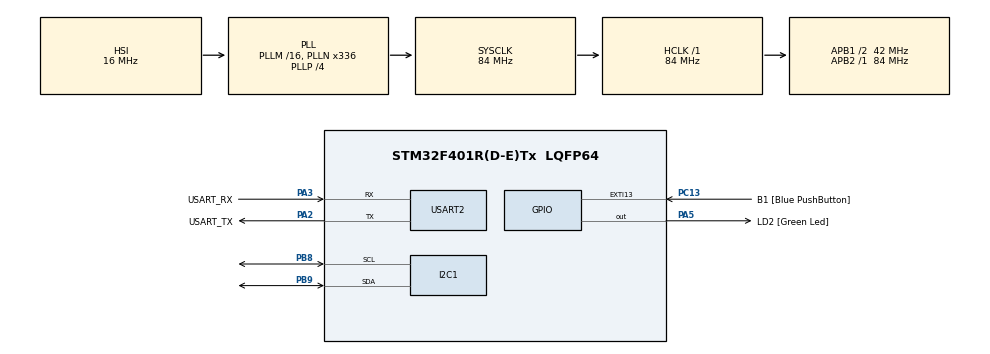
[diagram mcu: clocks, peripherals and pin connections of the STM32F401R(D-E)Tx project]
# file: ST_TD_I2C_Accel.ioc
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Mcu.Family=STM32F4
Mcu.Name=STM32F401R(D-E)Tx
Mcu.Package=LQFP64
NVIC.PriorityGroup=NVIC_PRIORITYGROUP_0
PA13.GPIO_Label=TMS
PA13.Mode=Serial_Wire
PA13.Signal=SYS_JTMS-SWDIO
PA14.GPIO_Label=TCK
PA14.Mode=Serial_Wire
PA14.Signal=SYS_JTCK-SWCLK
PA2.GPIO_Label=USART_TX
PA2.GPIO_Mode=GPIO_MODE_AF_PP
PA2.GPIO_PuPd=GPIO_NOPULL
PA2.GPIO_Speed=GPIO_SPEED_FREQ_LOW
PA2.Mode=Asynchronous
PA2.Signal=USART2_TX
PA3.GPIO_Label=USART_RX
PA3.GPIO_Mode=GPIO_MODE_AF_PP
PA3.GPIO_PuPd=GPIO_NOPULL
PA3.GPIO_Speed=GPIO_SPEED_FREQ_LOW
PA3.Mode=Asynchronous
PA3.Signal=USART2_RX
PA5.GPIO_Label=LD2 [Green Led]
PA5.GPIO_Mode=GPIO_MODE_OUTPUT_PP
PA5.GPIO_PuPd=GPIO_NOPULL
PA5.GPIO_Speed=GPIO_SPEED_FREQ_LOW
PA5.Signal=GPIO_Output
PB3.GPIO_Label=SWO
PB3.Signal=SYS_JTDO-SWO
PB8.Mode=I2C
PB8.Signal=I2C1_SCL
PB9.Mode=I2C
PB9.Signal=I2C1_SDA
PC13-ANTI_TAMP.GPIO_Label=B1 [Blue PushButton]
PC13-ANTI_TAMP.GPIO_ModeDefaultEXTI=GPIO_MODE_IT_FALLING
PC13-ANTI_TAMP.GPIO_PuPd=GPIO_NOPULL
PC13-ANTI_TAMP.Signal=GPXTI13
PC14-OSC32_IN.Mode=LSE-External-Oscillator
PC14-OSC32_IN.Signal=RCC_OSC32_IN
PC15-OSC32_OUT.Mode=LSE-External-Oscillator
PC15-OSC32_OUT.Signal=RCC_OSC32_OUT
PH0\ -\ OSC_IN.Mode=HSE-External-Clock-Source
PH0\ -\ OSC_IN.Signal=RCC_OSC_IN
PH1\ -\ OSC_OUT.Mode=HSE-External-Clock-Source
PH1\ -\ OSC_OUT.Signal=RCC_OSC_OUT
ProjectManager.HeapSize=0x200
ProjectManager.StackSize=0x400
ProjectManager.TargetToolchain=STM32CubeIDE
RCC.48MHZClocksFreq_Value=48000000
RCC.AHBFreq_Value=84000000
RCC.APB1CLKDivider=RCC_HCLK_DIV2
RCC.APB1Freq_Value=42000000
RCC.APB1TimFreq_Value=84000000
RCC.APB2Freq_Value=84000000
RCC.APB2TimFreq_Value=84000000
RCC.CortexFreq_Value=84000000
RCC.HCLKFreq_Value=84000000
RCC.HSE_VALUE=8000000
RCC.HSI_VALUE=16000000
RCC.PLLN=336
RCC.PLLP=RCC_PLLP_DIV4
RCC.PLLQ=7
RCC.SYSCLKFreq_VALUE=84000000
RCC.SYSCLKSource=RCC_SYSCLKSOURCE_PLLCLK
RCC.VCOOutputFreq_Value=336000000
USART2.VirtualMode=VM_ASYNC
board=NUCLEO-F401RE

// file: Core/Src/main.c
/* USER CODE BEGIN Header */
/**
  ******************************************************************************
  * @file           : main.c
  * @brief          : Main program body
  ******************************************************************************
  * @attention
  *
  * Copyright (c) 2022 STMicroelectronics.
  * All rights reserved.
  *
  * This software is licensed under terms that can be found in the LICENSE file
  * in the root directory of this software component.
  * If no LICENSE file comes with this software, it is provided AS-IS.
  *
  ******************************************************************************
  */

/*
 * # Instrucciones y breve descripcion
 *
 * La biblioteca desarrollada para controlar la mpu esta en
 * "./Drivers/mpu6500". Ahi esta el driver que desarrollé bajo
 * el marco de arduino adaptado para STM32. Deberia funcionar.
 *
 * El procedimiento antes de hacer nada con la IMU es el siguiente:
 *
 * 1 - Llamar a initMPU6500 con el handler de i2c correspondiente
 * al puerto i2c a usar. (OJO! hacerlo DESPUES DE EL HAL_I2C_INIT)
 *
 * 2 - Checkear la "presencia" de la imu usando imuCheckPresence();
 *
 * 3 - Setear los offsets de gyros y acelerometros con imuSetOffsets();
 *
 * 4 - Correr el self-test con imuSelfTest() y verificar si pasa o no
 * pasan los valores (ver la funcion en el .c para una descripcion
 * mas detallada de los valores de retorno).
 *
 * 5 - Ya esta lista para usar:
 *
 * Temperatura en grados centigrados:
 * float imuGetTemp();
 *
 * Datos de acelerometro (IIXXYYZZ, cada letra es un byte. las I
 * son de "ignorado"):
 * uint64_t imuGetAccelData();
 *
 * Datos de giroscopo (IIXXYYZZ, cada letra es un byte. las I
 * son de "ignorado"):
 * uint64_t imuGetGyroData();
 *
 * PD: Los return de las funciones de acelerometro y giroscopo
 * los hice con un uint64 para ahorrarme de pasar un buffer por
 * referencia a la funcion, pero puede modificarse la biblioteca
 * para que funcione de esa otra forma.
 *
 * PD2: El archivo .c del driver tiene comentarios en ciertas funciones
 * y procesos que pueden ayudar a entender un poco mejor.
 *
 */

/* USER CODE END Header */
#include "main.h"
#include "mpu6500.h"

/* USER CODE BEGIN Includes */

#include "arm_math.h"
#include "arm_const_structs.h"
#include "timer.h"
#include "funciones.h"

#if  defined(mainPC_READ) || defined(mainPC_WRITE)
#include "stdio.h"
extern void initialise_monitor_handles(void);
#endif
/* USER CODE END Includes */

I2C_HandleTypeDef hi2c1;

UART_HandleTypeDef huart2;

/* USER CODE BEGIN PV */
uint64_t accel;
uint64_t gyros;

float dt=0.002;

float G = 9.81;
float Ca = 0.1;
/* USER CODE END PV */

void SystemClock_Config(void);
static void MX_GPIO_Init(void);
static void MX_USART2_UART_Init(void);
static void MX_I2C1_Init(void);

/* USER CODE BEGIN 0 */

float acc_x;
float acc_y;
float acc_z;
float gir_x;
float gir_y;
float gir_z;
float ax[10];
float ay[10];
float az[10];
float gx[10];
float gy[10];
float gz[10];
float amx;
float gmx;
float amy;
float gmy;
float amz;
float gmz;
float vax;
float vgx;
float vay;
float vgy;
float vaz;
float vgz;

float escala_acc = 4.0*9.81/65536.0;
float escala_gir = 500.0/65536.0;

arm_matrix_instance_f32 I;
float identidad [9] = {1,0,0,0,1,0,0,0,1};//vector de datos de la matriz identidad
float ceros [9] = {0,0,0,0,0,0,0,0,0};//vector nulo

//de la tarea

arm_matrix_instance_f32 ap,Ea;
arm_matrix_instance_f32 Znn,Eg;

float a_p[3]; //aceleracion externa pasada
float cov_a[3];//covarianza del acelerometro
float cov_g[3];//covarianza giroscopo
float yg[3];
float znn[3];

void Calculo_F(float yg[], arm_matrix_instance_f32* F)
{

	arm_matrix_instance_f32 aux,Ygx;
	float ygx[9];
	float ax[9];

	arm_mat_init_f32(&aux, 3, 3, ax);//auxialiar para ir guardando operaciones

	ygx[0]=0;
	ygx[1]=-yg[2];
	ygx[2]=yg[1];
	ygx[3]=yg[2];
	ygx[4]=0;
	ygx[5]=-yg[0];
	ygx[6]=-yg[1];
	ygx[7]=yg[0];
	ygx[8]=0;

	arm_mat_init_f32(&Ygx, 3, 3, ygx);

	arm_mat_scale_f32(&Ygx, (-dt), &aux);//primera parte de la ecuacion 24 (-delta_t*[yg]x)

	arm_mat_add_f32(&I, &aux, F);//segunda parte de ecuacion 24 I-aux
}

void Calculo_Q(float znn[], arm_matrix_instance_f32* Q,arm_matrix_instance_f32* Eg )
{

	float d_zx[9];//covarianza del giroscopo d_zx sera donde guarde guarde los datos de la matriz producto vectorial de znn
	float kq;
	float ax_1[9];
	float ax_2[9];
	arm_matrix_instance_f32 aux_1,aux_2,Zx;

	kq=(-dt)*dt;//escalar que se utiliza luego en el calculo de Q

	arm_mat_init_f32(&aux_1, 3, 3, ax_1);
	arm_mat_init_f32(&aux_2, 3, 3, ax_2);

	d_zx[0]=0;
	d_zx[1]=-znn[2];
	d_zx[2]=znn[1];
	d_zx[3]=znn[2];
	d_zx[4]=0;
	d_zx[5]=-znn[0];
	d_zx[6]=-znn[1];
	d_zx[7]=znn[0];
	d_zx[8]=0;

	arm_mat_init_f32(&Zx, 3, 3, d_zx);//matriz producto vectorial de Znn

	arm_mat_mult_f32(Eg,&Zx,&aux_1);//primer producto vectorial de ec 26 (Eg.[Znn]x)
	arm_mat_mult_f32(&Zx,&aux_1,&aux_2);//segundo producto vectorial de ec26
	arm_mat_scale_f32(&aux_2, kq, Q);//escalamiento final de Q ec 26

}

void Calculo_H(arm_matrix_instance_f32* H)
{
	arm_mat_scale_f32(&I, G, H);// H = I*g ecuacion 31
}

void Calculo_Rn(arm_matrix_instance_f32* Ea, arm_matrix_instance_f32* Rn, float a_p[])
{
	arm_matrix_instance_f32 Ee;
	float d_Ee[9];
	float norma_ap;
	float ca=0.1;
	float k=0;
	float a=0.333333333;
	arm_mat_init_f32(&Ee, 3, 3, d_Ee);//solo primea vez

	norma_ap= a_p[0]*a_p[0] + a_p[1]*a_p[1] + a_p[2]*a_p[2];

	k = norma_ap*ca*ca;//calculo del escalar que multiplica a identidad en ecuacion 35
	k=k*a;
	arm_mat_scale_f32(&I, k, &Ee);//Ee = I*k ecuacion 35

	arm_mat_add_f32(&Ee, Ea, Rn); //ecuacion 33
}

//chequear pasajes de argumentos
uint8_t Calculo_matriz_Rb(arm_matrix_instance_f32* R_b_g, float *zn)
{
	//inicio ecuacion 37
	arm_matrix_instance_f32 R_aux1,R_aux2; //R que depende de beta y gamma
	float r_aux1[9]={0,0,0,0,1,0,0,0,0},r_aux2[9]={1,0,0,0,0,0,0,0,0},cos_b=0,sen_b=0,cos_g=0,sen_g=0,aux_zn[]={zn[0],zn[1],zn[2]};
	double gamma=0,beta = 0;

	arm_mat_init_f32(&R_aux1, 3, 3, r_aux1);
	arm_mat_init_f32(&R_aux2, 3, 3, r_aux2);

	//chequear que no se pasen los valores mucho de uno

	if (aux_zn[0]>1.0 && aux_zn[0]-1.0<0.2)
	{
		aux_zn[0]=1.0;
	}else if (aux_zn[0]>1.0 && aux_zn[0]-1.0>0.2)
	{
		return 1;
	}

	if (aux_zn[0]<-1.0 && aux_zn[0]+1.0>-0.2)
	{
		aux_zn[0]=-1.0;
	}else if (aux_zn[0]<-1.0 && aux_zn[0]+1.0<-0.2)
	{
		return 1;
	}

	if (aux_zn[1]>1.0 && aux_zn[1]-1.0<0.2)
	{
		aux_zn[1]=1.0;
	}else if (aux_zn[1]>1.0 && aux_zn[1]-1.0>0.2)
	{
		return 1;
	}

	if (aux_zn[1]<-1.0 && aux_zn[1]+1.0>-0.2)
	{
		aux_zn[1]=-1.0;
	}else if (aux_zn[1]<-1.0 && aux_zn[1]+1.0<-0.2)
	{
		return 1;
	}

	if (aux_zn[2]>1.0 && aux_zn[2]-1.0<0.2)
	{
		aux_zn[2]=1.0;
	}else if (aux_zn[2]>1.0 && aux_zn[2]-1.0>0.2)
	{
		return 1;
	}

	if (aux_zn[2]<-1.0 && aux_zn[2]+1.0>-0.2)
	{
		aux_zn[2]=-1.0;
	}else if (aux_zn[2]<-1.0 && aux_zn[2]+1.0<-0.2)
	{
		return 1;
	}

	//calculo beta y gamma
	gamma = atan((double) zn[1]/zn[2]);

	sen_g= sin(gamma);
	cos_g= cos(gamma);

	beta = atan(zn[0]*sen_g/zn[2]);

	//para que solo se utilize una ves las funciones matematicas las cargo en variables.
	cos_b= cos(beta);
	sen_b= sin(beta);
	//sen_g= sin(gamma);
	//cos_g= cos(gamma);

	//cargo los valores de la 1ra matriz auxiliar
	r_aux1[0] = (float)cos_b;
	r_aux1[2] = (float)sen_b;
	r_aux1[6] = (float)-sen_b;
	r_aux1[8] = (float)cos_b;

	//cargo los valores de la 2da matriz auxiliar
	r_aux2[4] = (float)cos_g;
	r_aux2[5] = (float)-sen_g;
	r_aux2[7] = (float)sen_g;
	r_aux2[8] = (float)cos_g;

	//arm_mat_mult_f32(R_b_g, &R_aux1, &R_aux2);//calculo la matriz de rotacion
	arm_mat_mult_f32(&R_aux1, &R_aux1, R_b_g);
	//fin ecuacion 37
	return 0;//salio bien
}

void Calculo_Xnn(arm_matrix_instance_f32 * Xnn, float * h_pasado, float iaz)//xnn tiene 2 posiciones, iaz es el valor devuelto por aceleracion vertical
{
	//inicio ecuacion 39 --> calculo del Xnn (vector de estado del sistema)
	arm_matrix_instance_f32 Xnp,Mat_aux,T_aux1;
	static float xnp[2]={0,0},aux = 0;//Xn;n-1
	static float h_dif = 0;
	float t_aux2[2]={0.5*dt*dt,dt},t_aux1[4]={1,dt,0,1},mat_aux[2]={0,0};

	arm_mat_init_f32(&T_aux1, 2, 2, t_aux1);

	//estas definiciones no se usan, pero ya dejo incializadas las matrices.
	arm_mat_init_f32(&Xnp, 2, 1, xnp);
	arm_mat_init_f32(&Mat_aux, 2, 1, mat_aux);
	//1ra parte de la suma
	//arm_mat_mult_f32(&Mat_aux, &T_aux1, &Xnp);
	arm_mat_mult_f32(&T_aux1, &Xnp, &Mat_aux);

	//calculo final --> suma de matrices 2x1
	Xnn->pData[0]= mat_aux[0]+ t_aux2[0] * iaz;
	Xnn->pData[1]= mat_aux[1]+ t_aux2[1] * iaz;

	//guardo el valor actual (proximo pasado)
	if(aux == 0)
	{
		start_timer_4();
		aux = 1;
	}
	if(valor_timer_4() >= T_MAX_H)
	{
		stop_timer_4();
		h_dif = Xnn->pData[0];
		start_timer_4();
	}
	xnp[0] = Xnn->pData[0];
	xnp[1] = Xnn->pData[1];

	*h_pasado = h_dif;//devuelve el valor pasado
	//fin ecuacion 39
}

void fil_kal(float* yg, float* ya, arm_matrix_instance_f32* Ap, arm_matrix_instance_f32* Xaa, arm_matrix_instance_f32* Xap, arm_matrix_instance_f32* Paa, arm_matrix_instance_f32* Pap, uint16_t primero, float cov_a[],float cov_g[])
{

	//matrices
	arm_matrix_instance_f32 F;
	arm_matrix_instance_f32 Q;
	arm_matrix_instance_f32 H;
	arm_matrix_instance_f32 Rn;
	arm_matrix_instance_f32 Ea;
	arm_matrix_instance_f32 Eg;
	arm_matrix_instance_f32 a;
	arm_matrix_instance_f32 b;
	arm_matrix_instance_f32 c;
	arm_matrix_instance_f32 d;
	arm_matrix_instance_f32 e;
	arm_matrix_instance_f32 ax;//unas deben ser 3x3 los otros 3x1 (c y d)
	arm_matrix_instance_f32 Ht;
	arm_matrix_instance_f32 Zn;
	arm_matrix_instance_f32 Kn;
	arm_matrix_instance_f32 Ya;
	arm_matrix_instance_f32 Zpnn;
	//arm_matrix_instance_f32 Ap;
	//acoplado
	arm_matrix_instance_f32 R_b_g,Xnn;
	static float  h_pasado = 0;
	float iaz = 0;
	float32_t norma_1, norma_2;

	float h[9], g[9], f[9], q[9], A[9], B[9], E[9], AX[9], C[3], D[3],ht[9],zn[3],kn[9], zpnn[3];
	float xnn[2]={0,0},r_b_g[9]={0,0,0,0,0,0,0,0,0};

	arm_mat_init_f32(&I, 3, 3,identidad);

	arm_mat_init_f32(&H, 3, 3, h);
	arm_mat_init_f32(&F, 3, 3, f);
	arm_mat_init_f32(&Rn, 3, 3, g);
	arm_mat_init_f32(&Q, 3, 3, q);
	arm_mat_init_f32(&Ea, 3, 3, cov_a);
	arm_mat_init_f32(&Eg, 3, 3, cov_g);
	arm_mat_init_f32(&Ya, 3, 1, ya);
	arm_mat_init_f32(&a, 3, 3, A);
	arm_mat_init_f32(&b, 3, 3, B);
	arm_mat_init_f32(&e, 3, 3, E);
	arm_mat_init_f32(&ax, 3, 3, AX);
	arm_mat_init_f32(&c, 3, 1, C);
	arm_mat_init_f32(&d, 3, 1, D);
	arm_mat_init_f32(&Ht, 3, 3, ht);
	arm_mat_init_f32(&Zn, 3, 1, zn);
	arm_mat_init_f32(&Kn, 3, 3, kn);
	arm_mat_init_f32(&Zpnn, 3, 3, zpnn);
	//arm_mat_init_f32(&Ap, 3, 1, a_p);
	//acoplado
	arm_mat_init_f32(&Xnn, 2, 1, xnn);
	arm_mat_init_f32(&R_b_g, 3, 3, r_b_g);

	if (primero==0)
	{
		Calculo_H(&H);

		Calculo_Rn(&Ea, &Rn, Ap->pData);

		//Kn = P_a_p.Ht.(H.P_a_p.Ht + Rn)-1

		arm_mat_trans_f32(&H, &Ht);
		arm_mat_mult_f32(Pap, &Ht, &b);
		arm_mat_mult_f32(&H, &b, &a);
		arm_mat_add_f32(&a, &Rn, &b);
		arm_mat_inverse_f32(&b, &a);
		arm_mat_mult_f32(&Ht, &a, &b);
		arm_mat_mult_f32(Pap,&b,&Kn);

		//zn = ya -Ca*(a_p_p)

		arm_mat_scale_f32(Ap, -Ca, &c);
		//arm_mat_scale_f32(&Ya, G, &d);
		arm_mat_add_f32(&Ya, &c, &Zn);

		//x_a_a = x_a_p + Kn.(zn - H.x_a_p)

		arm_mat_mult_f32(&H, Xap, &c);
		arm_mat_scale_f32(&c, -1, &d);
		arm_mat_add_f32(&Zn, &d, &c);
		arm_mat_mult_f32(&Kn, &c, &d);
		arm_mat_add_f32(Xap, &d, &Zpnn);

		//normalizacion

		norma_1 = zpnn[0]*zpnn[0] + zpnn[1]*zpnn[1] + zpnn[2]*zpnn[2];
		arm_sqrt_f32(norma_1, &norma_2);

		arm_mat_scale_f32(&Zpnn, 1.0/norma_2, Xaa);

		//P_a_a = (I - Kn.H).P_a_p(I - KnH)t + Kn.Rn.Knt

		arm_mat_trans_f32(&Kn, &a);
		arm_mat_mult_f32(&Rn, &a, &b);
		arm_mat_mult_f32(&Kn, &b, &e);

		arm_mat_mult_f32(&Kn, &H, &a);
		arm_mat_scale_f32(&a, -1, &b);
		arm_mat_add_f32(&I, &b, &ax);

		arm_mat_mult_f32(&Kn, &H, &a);
		arm_mat_scale_f32(&a, -1, &b);
		arm_mat_add_f32(&I, &b, &a);
		arm_mat_trans_f32(&a, &b);

		arm_mat_mult_f32(Pap, &b, &a);
		arm_mat_mult_f32(&ax, &a, &b);

		arm_mat_add_f32(&b, &e, Paa);

		//aceleracion externa
		arm_mat_scale_f32(Xaa, -G, &c);
		arm_mat_add_f32(&Ya, &c, Ap);

		}

	Calculo_F(yg, &F);

	Calculo_Q(Xaa->pData, &Q, &Eg);
	//x_f_a = F.X_a_a    En la siguiente sera x_a_p
	arm_mat_mult_f32(&F, Xaa, Xap); //esto es 3x1

	//P_f_a = F.P_a_a.Ft + Q

	arm_mat_trans_f32(&F, &a);
	arm_mat_mult_f32(Paa, &a, &b);
	arm_mat_mult_f32(&F, &b, &a);
	arm_mat_add_f32(&a, &Q, Pap);//chequear ordenes de matrices me parece que p tendria que ser 3x3
	//ojo que estos valores deben seguir por fuera de la funcion

/*#define LD2_Pin GPIO_PIN_5
#define LD2_GPIO_Port GPIOA*/
	//acoplado
	uint8_t retorno;
	//acoplado
	retorno = Calculo_matriz_Rb(&R_b_g, Xaa->pData);
	if(retorno)
	{
		HAL_GPIO_WritePin(LD2_GPIO_Port, LD2_Pin, SET);

	}else {
		HAL_GPIO_WritePin(LD2_GPIO_Port, LD2_Pin, RESET);

		iaz = Aceleracion_vertical(Xaa->pData,ya,&R_b_g);
		Calculo_Xnn(&Xnn, &h_pasado, iaz);
		Detector_caida(xnn,h_pasado,Calculo_theta(Xaa->pData),iaz);//maquina de estados
	}

//primera pasada no pasan por aca ni las de arriba

// aceleracion externa

/*arm_mat_scale_f32(Xaa, -G, &c);
arm_mat_add_f32(&Ya, &c, Ap);*/
//arm_mat_add_f32(&Ya, &c, &d);

/*arm_mat_scale_f32(Xaa, -1, &c);
arm_mat_add_f32(&Ya, &c, &d);
arm_mat_scale_f32(&d, G, Ap);*/

}

void getData() {
	accel = imuGetAccelData();
	gyros = imuGetGyroData();

	/*acc_z = escala_acc*(int16_t)(accel & 0x0000000000000000FFFF);
	gir_z = escala_gir*(int16_t)(gyros & 0x0000000000000000FFFF);

	acc_y = escala_acc*(int16_t)((accel >> 16) & 0x0000000000000000FFFF);
	gir_y = escala_gir*(int16_t)((gyros >> 16) & 0x0000000000000000FFFF);

	acc_x = escala_acc*(int16_t)((accel >> 32) & 0x0000000000000000FFFF);
	gir_x = escala_gir*(int16_t)((gyros >> 32) & 0x0000000000000000FFFF);*/
	acc_z = escala_acc*(int16_t)(accel );
	gir_z = escala_gir*(int16_t)(gyros);

	acc_y = escala_acc*(int16_t)((accel >> 16));
	gir_y = escala_gir*(int16_t)((gyros >> 16));

	acc_x = escala_acc*(int16_t)((accel >> 32));
	gir_x = escala_gir*(int16_t)((gyros >> 32));

}

void buttonLoop() {
	static uint8_t debounce = 0;
	static uint8_t status = 0;
	static uint32_t tick = 0;

	if (HAL_GPIO_ReadPin(B1_GPIO_Port, B1_Pin) != status) {
		if (HAL_GetTick() - tick > 150) {
			tick = HAL_GetTick();
			debounce++;
		}
		if (debounce > 3) {
			debounce = 0;
			tick = HAL_GetTick();
			status = !status;
			if (status) {
				getData();
			}
		}
	}

}
/* USER CODE END 0 */

int main(void)
{
  /* USER CODE BEGIN 1 */
  #if  defined(mainPC_READ) || defined(mainPC_WRITE)
  initialise_monitor_handles();
  #endif
  /* USER CODE END 1 */

  /* MCU Configuration--------------------------------------------------------*/

  /* Reset of all peripherals, Initializes the Flash interface and the Systick. */
  HAL_Init();

  /* Configure the system clock */
  SystemClock_Config();

  /* Initialize all configured peripherals */
  MX_GPIO_Init();
  MX_USART2_UART_Init();
  MX_I2C1_Init();
  /* USER CODE BEGIN 2 */

  uint8_t ret = 0;
  ret++;

  initMPU6500(&hi2c1);
  ret = imuCheckPresence();
  imuSetOffsets();
  ret = imuSelfTest();

int i;

for (i=0;i<10;i++)
{
	getData();

	az[i] = acc_z;
	gz[i] = gir_z;

	ay[i] = acc_y;
	gy[i] = gir_y;

	ax[i] = acc_x;
	gx[i] = gir_x;

}

amx=0;
gmx=0;

amy=0;
gmy=0;

amz=0;
gmz=0;

for (i=0;i<10;i++)
{
	amx = amx + ax[i]/10;
	gmx = gmx + gx[i]/10;

	amy = amy + ay[i]/10;
	gmy = gmy + gy[i]/10;

	amz = amz + az[i]/10;
	gmz = gmz + gz[i]/10;

}

vax=0;
vgx=0;

vay=0;
vgy=0;

vaz=0;
vgz=0;

for (i=0;i<10;i++)
{

	vax = (ax[i]-amx)*(ax[i]-amx)/10;
	vgx = (gx[i]-gmx)*(gx[i]-gmx)/10;

	vay = (ay[i]-amy)*(ay[i]-amy)/10;
	vgy = (gy[i]-gmy)*(gy[i]-gmy)/10;

	vaz = (az[i]-amz)*(az[i]-amz)/10;
	vgz = (gz[i]-gmz)*(gz[i]-gmz)/10;

}

//int tarea_filtro (void)
//{
	arm_matrix_instance_f32 Ap, Ea,Eg,Xaa,Paa,Xap,Pap;

	float a_p[3]; //aceleracion externa pasada
	float cov_a[] = {0,0,0,0,0,0,0,0,0};//covarianza del acelerometro
	float cov_g[]= {0,0,0,0,0,0,0,0,0}  ;//covarianza giroscopo
	float yg[3];
	float ya[3];
	float xaa[3];
	float xap[3];
	float paa[9];
	float pap[9]; //chequear valores iniciales //covariazas que arranquen en 0

	a_p[0]=0;
	a_p[1]=0;
	a_p[2]=0;

	xaa[0] = 0;
	xaa[1] = 0;
	xaa[2] = 1;
	for (i=0;i<9;i++)
	{
		if (i==0)
		{
			cov_a[i] = vax;

			cov_g[i] = vgx;

		}else if (i==4)
		{
			cov_a[i] = vay;
			cov_g[i] = vgy;

		}else if(i==8)
		{
			cov_a[i] = vaz;
			cov_g[i] = vgz;

		}else
		{
			cov_a[i] = 0;
			cov_g[i] = 0;

		}
	}

	/*cov_a[0] = 0.001;
	cov_a[4] = 0.001;
	cov_a[8] = 0.001;

	cov_g[0] = 0.1;
	cov_g[4] = 0.1;
	cov_g[8] = 0.1;*/

	for ( i=0; i<9;i++)
	{
		paa[i] = 0;
	}

	arm_mat_init_f32(&Ea, 3, 3, cov_a);
	arm_mat_init_f32(&Eg, 3, 3, cov_g);
	arm_mat_init_f32(&Xaa, 3, 1, xaa);
	arm_mat_init_f32(&Xap, 3, 1, xap);
	arm_mat_init_f32(&Paa, 3, 3, paa);
	arm_mat_init_f32(&Pap, 3, 3, pap);
	arm_mat_init_f32(&Ap, 3, 1, a_p);

	uint16_t primero=1;

	while(1)
	{
		//recibo datos de una cola

		#ifndef mainPC_READ
		getData();
		#else
		printf("Ready to receive data\n");
		vPcRead(&dt, &gir_x, &gir_y, &gir_z, &acc_x, &acc_y, &acc_z);
		#endif

		yg[0] = gir_x;
		yg[1] = gir_y;
		yg[2] = gir_z;

		ya[0] = acc_x;
		ya[1] = acc_y;
		ya[2] = acc_z;

		fil_kal(yg, ya, &Ap, &Xaa, &Xap, &Paa, &Pap, primero, cov_a, cov_g);

		#ifdef mainPC_WRITE
		vPcWrite((float) 5.1);
		#endif

		primero = 0;

		//deteccion caida libre pense que devuelva un 1 si hay y un 0 sino.
		//lo unico que habria que pasarle es el vector con Xaa y los datos anteriores de altura y velocidad (ver como mantener estos datos porque si solo estan la funcion mueren cuando termina
		//aplicar ecuaciones 15 y 16
		//luego 37 38
		//por ultimo 39 y 40
		//luego hay que empezar las comparaciones del cuadro para que ver si hay caida libre o no
	}

  /* USER CODE END 2 */

  /* Infinite loop */
  /* USER CODE BEGIN WHILE */

	  //buttonLoop();
    /* USER CODE END WHILE */

}

void SystemClock_Config(void)
{
  RCC_OscInitTypeDef RCC_OscInitStruct = {0};
  RCC_ClkInitTypeDef RCC_ClkInitStruct = {0};

  /** Configure the main internal regulator output voltage
  */
  __HAL_RCC_PWR_CLK_ENABLE();
  __HAL_PWR_VOLTAGESCALING_CONFIG(PWR_REGULATOR_VOLTAGE_SCALE2);

  /** Initializes the RCC Oscillators according to the specified parameters
  * in the RCC_OscInitTypeDef structure.
  */
  RCC_OscInitStruct.OscillatorType = RCC_OSCILLATORTYPE_HSI;
  RCC_OscInitStruct.HSIState = RCC_HSI_ON;
  RCC_OscInitStruct.HSICalibrationValue = RCC_HSICALIBRATION_DEFAULT;
  RCC_OscInitStruct.PLL.PLLState = RCC_PLL_ON;
  RCC_OscInitStruct.PLL.PLLSource = RCC_PLLSOURCE_HSI;
  RCC_OscInitStruct.PLL.PLLM = 16;
  RCC_OscInitStruct.PLL.PLLN = 336;
  RCC_OscInitStruct.PLL.PLLP = RCC_PLLP_DIV4;
  RCC_OscInitStruct.PLL.PLLQ = 7;
  if (HAL_RCC_OscConfig(&RCC_OscInitStruct) != HAL_OK)
  {
    Error_Handler();
  }

  /** Initializes the CPU, AHB and APB buses clocks
  */
  RCC_ClkInitStruct.ClockType = RCC_CLOCKTYPE_HCLK|RCC_CLOCKTYPE_SYSCLK
                              |RCC_CLOCKTYPE_PCLK1|RCC_CLOCKTYPE_PCLK2;
  RCC_ClkInitStruct.SYSCLKSource = RCC_SYSCLKSOURCE_PLLCLK;
  RCC_ClkInitStruct.AHBCLKDivider = RCC_SYSCLK_DIV1;
  RCC_ClkInitStruct.APB1CLKDivider = RCC_HCLK_DIV2;
  RCC_ClkInitStruct.APB2CLKDivider = RCC_HCLK_DIV1;

  if (HAL_RCC_ClockConfig(&RCC_ClkInitStruct, FLASH_LATENCY_2) != HAL_OK)
  {
    Error_Handler();
  }
}

static void MX_I2C1_Init(void)
{

  hi2c1.Instance = I2C1;
  hi2c1.Init.ClockSpeed = 100000;
  hi2c1.Init.DutyCycle = I2C_DUTYCYCLE_2;
  hi2c1.Init.OwnAddress1 = 0;
  hi2c1.Init.AddressingMode = I2C_ADDRESSINGMODE_7BIT;
  hi2c1.Init.DualAddressMode = I2C_DUALADDRESS_DISABLE;
  hi2c1.Init.OwnAddress2 = 0;
  hi2c1.Init.GeneralCallMode = I2C_GENERALCALL_DISABLE;
  hi2c1.Init.NoStretchMode = I2C_NOSTRETCH_DISABLE;
  if (HAL_I2C_Init(&hi2c1) != HAL_OK)
  {
    Error_Handler();
  }

}

static void MX_USART2_UART_Init(void)
{

  huart2.Instance = USART2;
  huart2.Init.BaudRate = 115200;
  huart2.Init.WordLength = UART_WORDLENGTH_8B;
  huart2.Init.StopBits = UART_STOPBITS_1;
  huart2.Init.Parity = UART_PARITY_NONE;
  huart2.Init.Mode = UART_MODE_TX_RX;
  huart2.Init.HwFlowCtl = UART_HWCONTROL_NONE;
  huart2.Init.OverSampling = UART_OVERSAMPLING_16;
  if (HAL_UART_Init(&huart2) != HAL_OK)
  {
    Error_Handler();
  }

}

static void MX_GPIO_Init(void)
{
  GPIO_InitTypeDef GPIO_InitStruct = {0};

  /* GPIO Ports Clock Enable */
  __HAL_RCC_GPIOC_CLK_ENABLE();
  __HAL_RCC_GPIOH_CLK_ENABLE();
  __HAL_RCC_GPIOA_CLK_ENABLE();
  __HAL_RCC_GPIOB_CLK_ENABLE();

  /*Configure GPIO pin Output Level */
  HAL_GPIO_WritePin(LD2_GPIO_Port, LD2_Pin, GPIO_PIN_RESET);

  /*Configure GPIO pin : B1_Pin */
  GPIO_InitStruct.Pin = B1_Pin;
  GPIO_InitStruct.Mode = GPIO_MODE_IT_FALLING;
  GPIO_InitStruct.Pull = GPIO_NOPULL;
  HAL_GPIO_Init(B1_GPIO_Port, &GPIO_InitStruct);

  /*Configure GPIO pin : LD2_Pin */
  GPIO_InitStruct.Pin = LD2_Pin;
  GPIO_InitStruct.Mode = GPIO_MODE_OUTPUT_PP;
  GPIO_InitStruct.Pull = GPIO_NOPULL;
  GPIO_InitStruct.Speed = GPIO_SPEED_FREQ_LOW;
  HAL_GPIO_Init(LD2_GPIO_Port, &GPIO_InitStruct);

}

void Error_Handler(void)
{
  __disable_irq();
  while (1)
  {
  }
}
